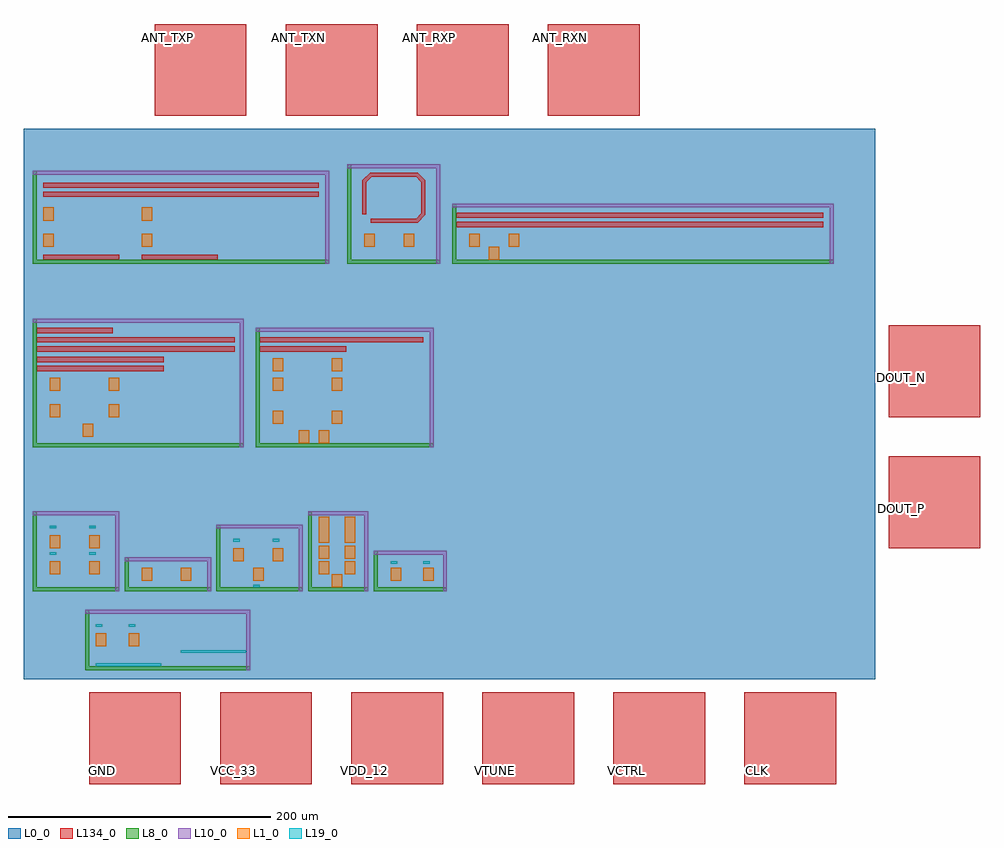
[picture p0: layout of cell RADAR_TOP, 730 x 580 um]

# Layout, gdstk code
import gdstk
lib = gdstk.Library(unit=1e-6, precision=1e-09)
def R(c, l, rs):  # rectangles x0, y0, x1, y1
    for r in rs: c.add(gdstk.rectangle(r[:2], r[2:], *l))
def A(c, l, x, y, w, h, nx, ny, dx, dy):  # array of equal rectangles
    R(c, l, [(x+i*dx, y+j*dy, x+i*dx+w, y+j*dy+h) for i in range(nx) for j in range(ny)])
L0_0 = (0, 0)
L1_0 = (1, 0)
L8_0 = (8, 0)
L10_0 = (10, 0)
L19_0 = (19, 0)
L134_0 = (134, 0)

bias_bgr = lib.new_cell('BIAS_BGR')
R(bias_bgr, L1_0, [(5,15,13,25), (30,15,38,25)])
R(bias_bgr, L8_0, [(-3,-3,123,0), (-3,-3,0,43)])
R(bias_bgr, L10_0, [(120,-3,123,43), (-3,40,123,43)])
R(bias_bgr, L19_0, [(5,0,55,2), (70,10,120,12), (5,30,10,32), (30,30,35,32)])
bias_bgr.add(gdstk.Label('npn13G2L', (5,20), layer=63, texttype=0))
bias_bgr.add(gdstk.Label('Q1_1x', (5,14), layer=63, texttype=0))
bias_bgr.add(gdstk.Label('npn13G2L', (30,20), layer=63, texttype=0))
bias_bgr.add(gdstk.Label('Q2_8x', (30,14), layer=63, texttype=0))
bias_bgr.add(gdstk.Label('R1_5k4=5400', (5,1), layer=63, texttype=0))
bias_bgr.add(gdstk.Label('Rfb=50', (5,31), layer=63, texttype=0))
bias_bgr.add(gdstk.Label('Rout=100', (30,31), layer=63, texttype=0))
bias_bgr.add(gdstk.Label('R2_18k=18000', (70,11), layer=63, texttype=0))

ifa_77g = lib.new_cell('IFA_77G')
R(ifa_77g, L1_0, [(10,10,18,20), (40,10,48,20), (10,30,18,40), (40,30,48,40)])
R(ifa_77g, L8_0, [(-3,-3,63,0), (-3,-3,0,58)])
R(ifa_77g, L10_0, [(60,-3,63,58), (-3,55,63,58)])
R(ifa_77g, L19_0, [(10,25,15,27), (40,25,45,27), (10,45,15,47), (40,45,45,47)])
ifa_77g.add(gdstk.Label('npn13G2L', (10,35), layer=63, texttype=0))
ifa_77g.add(gdstk.Label('Q1', (10,29), layer=63, texttype=0))
ifa_77g.add(gdstk.Label('npn13G2L', (40,35), layer=63, texttype=0))
ifa_77g.add(gdstk.Label('Q2', (40,29), layer=63, texttype=0))
ifa_77g.add(gdstk.Label('RL1=500', (10,46), layer=63, texttype=0))
ifa_77g.add(gdstk.Label('RL2=500', (40,46), layer=63, texttype=0))
ifa_77g.add(gdstk.Label('npn13G2L', (10,15), layer=63, texttype=0))
ifa_77g.add(gdstk.Label('Q3', (10,9), layer=63, texttype=0))
ifa_77g.add(gdstk.Label('npn13G2L', (40,15), layer=63, texttype=0))
ifa_77g.add(gdstk.Label('Q4', (40,9), layer=63, texttype=0))
ifa_77g.add(gdstk.Label('RL3=500', (10,26), layer=63, texttype=0))
ifa_77g.add(gdstk.Label('RL4=500', (40,26), layer=63, texttype=0))

lvlshift_77g = lib.new_cell('LVLSHIFT_77G')
R(lvlshift_77g, L1_0, [(10,5,18,15), (40,5,48,15)])
R(lvlshift_77g, L8_0, [(-3,-3,63,0), (-3,-3,0,23)])
R(lvlshift_77g, L10_0, [(60,-3,63,23), (-3,20,63,23)])
lvlshift_77g.add(gdstk.Label('npn13G2L', (10,10), layer=63, texttype=0))
lvlshift_77g.add(gdstk.Label('Q1', (10,4), layer=63, texttype=0))
lvlshift_77g.add(gdstk.Label('npn13G2L', (40,10), layer=63, texttype=0))
lvlshift_77g.add(gdstk.Label('Q2', (40,4), layer=63, texttype=0))

vga_77g = lib.new_cell('VGA_77G')
R(vga_77g, L1_0, [(25,5,33,15), (10,20,18,30), (40,20,48,30)])
R(vga_77g, L8_0, [(-3,-3,63,0), (-3,-3,0,48)])
R(vga_77g, L10_0, [(60,-3,63,48), (-3,45,63,48)])
R(vga_77g, L19_0, [(25,0,30,2), (10,35,15,37), (40,35,45,37)])
vga_77g.add(gdstk.Label('npn13G2L', (10,25), layer=63, texttype=0))
vga_77g.add(gdstk.Label('Q1', (10,19), layer=63, texttype=0))
vga_77g.add(gdstk.Label('npn13G2L', (40,25), layer=63, texttype=0))
vga_77g.add(gdstk.Label('Q2', (40,19), layer=63, texttype=0))
vga_77g.add(gdstk.Label('npn13G2L', (25,10), layer=63, texttype=0))
vga_77g.add(gdstk.Label('Qtail', (25,4), layer=63, texttype=0))
vga_77g.add(gdstk.Label('RL1=500', (10,36), layer=63, texttype=0))
vga_77g.add(gdstk.Label('RL2=500', (40,36), layer=63, texttype=0))
vga_77g.add(gdstk.Label('RE=10', (25,1), layer=63, texttype=0))

adc_sar_12b = lib.new_cell('ADC_SAR_12B')
A(adc_sar_12b, L1_0, 5, 10, 8, 10, 1, 3, 0, 12)
A(adc_sar_12b, L1_0, 25, 10, 8, 10, 1, 3, 0, 12)
R(adc_sar_12b, L1_0, [(15,0,23,10), (5,44,13,54), (25,44,33,54)])
R(adc_sar_12b, L8_0, [(-3,-3,43,0), (-3,-3,0,58)])
R(adc_sar_12b, L10_0, [(40,-3,43,58), (-3,55,43,58)])
adc_sar_12b.add(gdstk.Label('nmos', (5,15), layer=63, texttype=0))
adc_sar_12b.add(gdstk.Label('M1', (5,9), layer=63, texttype=0))
adc_sar_12b.add(gdstk.Label('nmos', (25,15), layer=63, texttype=0))
adc_sar_12b.add(gdstk.Label('M2', (25,9), layer=63, texttype=0))
adc_sar_12b.add(gdstk.Label('nmos', (15,5), layer=63, texttype=0))
adc_sar_12b.add(gdstk.Label('M9', (15,-1), layer=63, texttype=0))
adc_sar_12b.add(gdstk.Label('nmos', (5,27), layer=63, texttype=0))
adc_sar_12b.add(gdstk.Label('M5', (5,21), layer=63, texttype=0))
adc_sar_12b.add(gdstk.Label('nmos', (25,27), layer=63, texttype=0))
adc_sar_12b.add(gdstk.Label('M6', (25,21), layer=63, texttype=0))
adc_sar_12b.add(gdstk.Label('pmos', (5,39), layer=63, texttype=0))
adc_sar_12b.add(gdstk.Label('M3', (5,33), layer=63, texttype=0))
adc_sar_12b.add(gdstk.Label('pmos', (25,39), layer=63, texttype=0))
adc_sar_12b.add(gdstk.Label('M4', (25,33), layer=63, texttype=0))
adc_sar_12b.add(gdstk.Label('pmos', (5,49), layer=63, texttype=0))
adc_sar_12b.add(gdstk.Label('M7', (5,43), layer=63, texttype=0))
adc_sar_12b.add(gdstk.Label('pmos', (25,49), layer=63, texttype=0))
adc_sar_12b.add(gdstk.Label('M8', (25,43), layer=63, texttype=0))

digif_cml = lib.new_cell('DIGIF_CML')
R(digif_cml, L1_0, [(10,5,18,15), (35,5,43,15)])
R(digif_cml, L8_0, [(-3,-3,53,0), (-3,-3,0,28)])
R(digif_cml, L10_0, [(50,-3,53,28), (-3,25,53,28)])
R(digif_cml, L19_0, [(10,18,15,20), (35,18,40,20)])
digif_cml.add(gdstk.Label('npn13G2L', (10,10), layer=63, texttype=0))
digif_cml.add(gdstk.Label('Q1', (10,4), layer=63, texttype=0))
digif_cml.add(gdstk.Label('npn13G2L', (35,10), layer=63, texttype=0))
digif_cml.add(gdstk.Label('Q2', (35,4), layer=63, texttype=0))
digif_cml.add(gdstk.Label('RT1=50', (10,19), layer=63, texttype=0))
digif_cml.add(gdstk.Label('RT2=50', (35,19), layer=63, texttype=0))

lna_77g = lib.new_cell('LNA_77G')
R(lna_77g, L1_0, [(35,5,43,15), (10,20,18,30), (55,20,63,30), (10,40,18,50), (55,40,63,50)])
R(lna_77g, L8_0, [(-3,-3,158,0), (-3,-3,0,95)])
R(lna_77g, L10_0, [(155,-3,158,95), (-3,92,158,95)])
R(lna_77g, L134_0, [(0,55,97,59), (0,62,97,66), (0,70,151,74), (0,77,151,81), (0,84,58,88)])
lna_77g.add(gdstk.Label('npn13G2L', (10,25), layer=63, texttype=0))
lna_77g.add(gdstk.Label('Q33', (10,19), layer=63, texttype=0))
lna_77g.add(gdstk.Label('npn13G2L', (55,25), layer=63, texttype=0))
lna_77g.add(gdstk.Label('Q34', (55,19), layer=63, texttype=0))
lna_77g.add(gdstk.Label('npn13G2L', (10,45), layer=63, texttype=0))
lna_77g.add(gdstk.Label('Q35', (10,39), layer=63, texttype=0))
lna_77g.add(gdstk.Label('npn13G2L', (55,45), layer=63, texttype=0))
lna_77g.add(gdstk.Label('Q36', (55,39), layer=63, texttype=0))
lna_77g.add(gdstk.Label('npn13G2L', (35,10), layer=63, texttype=0))
lna_77g.add(gdstk.Label('Q37_bias', (35,4), layer=63, texttype=0))
lna_77g.add(gdstk.Label('TL_in_P', (0,60), layer=63, texttype=0))
lna_77g.add(gdstk.Label('TL_in_N', (0,67), layer=63, texttype=0))
lna_77g.add(gdstk.Label('TL_out_P', (0,75), layer=63, texttype=0))
lna_77g.add(gdstk.Label('TL_out_N', (0,82), layer=63, texttype=0))
lna_77g.add(gdstk.Label('TL_bias', (0,89), layer=63, texttype=0))

mixer_77g = lib.new_cell('MIXER_77G')
R(mixer_77g, L1_0, [(30,0,38,10), (45,0,53,10), (10,15,18,25), (55,15,63,25), (10,40,18,50), (55,40,63,50), (10,55,18,65), (55,55,63,65)])
R(mixer_77g, L8_0, [(-3,-3,133,0), (-3,-3,0,88)])
R(mixer_77g, L10_0, [(130,-3,133,88), (-3,85,133,88)])
R(mixer_77g, L134_0, [(0,70,66,74), (0,77,125,81)])
mixer_77g.add(gdstk.Label('npn13G2L', (10,45), layer=63, texttype=0))
mixer_77g.add(gdstk.Label('Q22', (10,39), layer=63, texttype=0))
mixer_77g.add(gdstk.Label('npn13G2L', (55,45), layer=63, texttype=0))
mixer_77g.add(gdstk.Label('Q23', (55,39), layer=63, texttype=0))
mixer_77g.add(gdstk.Label('npn13G2L', (10,60), layer=63, texttype=0))
mixer_77g.add(gdstk.Label('Q24', (10,54), layer=63, texttype=0))
mixer_77g.add(gdstk.Label('npn13G2L', (55,60), layer=63, texttype=0))
mixer_77g.add(gdstk.Label('Q25', (55,54), layer=63, texttype=0))
mixer_77g.add(gdstk.Label('npn13G2L', (10,20), layer=63, texttype=0))
mixer_77g.add(gdstk.Label('Q20', (10,14), layer=63, texttype=0))
mixer_77g.add(gdstk.Label('npn13G2L', (55,20), layer=63, texttype=0))
mixer_77g.add(gdstk.Label('Q21', (55,14), layer=63, texttype=0))
mixer_77g.add(gdstk.Label('npn13G2L', (30,5), layer=63, texttype=0))
mixer_77g.add(gdstk.Label('Q26', (30,-1), layer=63, texttype=0))
mixer_77g.add(gdstk.Label('npn13G2L', (45,5), layer=63, texttype=0))
mixer_77g.add(gdstk.Label('Q27', (45,-1), layer=63, texttype=0))
mixer_77g.add(gdstk.Label('TL_LO', (0,75), layer=63, texttype=0))
mixer_77g.add(gdstk.Label('TL_RF', (0,82), layer=63, texttype=0))

txpa_77g = lib.new_cell('TXPA_77G')
R(txpa_77g, L1_0, [(5,10,13,20), (80,10,88,20), (5,30,13,40), (80,30,88,40)])
R(txpa_77g, L8_0, [(-3,-3,223,0), (-3,-3,0,68)])
R(txpa_77g, L10_0, [(220,-3,223,68), (-3,65,223,68)])
R(txpa_77g, L134_0, [(5,0,63,4), (80,0,138,4), (5,48,215,52), (5,55,215,59)])
txpa_77g.add(gdstk.Label('npn13G2L', (5,15), layer=63, texttype=0))
txpa_77g.add(gdstk.Label('Q1_CE', (5,9), layer=63, texttype=0))
txpa_77g.add(gdstk.Label('npn13G2L', (5,35), layer=63, texttype=0))
txpa_77g.add(gdstk.Label('Q3_CB', (5,29), layer=63, texttype=0))
txpa_77g.add(gdstk.Label('npn13G2L', (80,15), layer=63, texttype=0))
txpa_77g.add(gdstk.Label('Q2_CE', (80,9), layer=63, texttype=0))
txpa_77g.add(gdstk.Label('npn13G2L', (80,35), layer=63, texttype=0))
txpa_77g.add(gdstk.Label('Q4_CB', (80,29), layer=63, texttype=0))
txpa_77g.add(gdstk.Label('TL_out_P', (5,53), layer=63, texttype=0))
txpa_77g.add(gdstk.Label('TL_out_N', (5,60), layer=63, texttype=0))
txpa_77g.add(gdstk.Label('TL_deg_P', (5,5), layer=63, texttype=0))
txpa_77g.add(gdstk.Label('TL_deg_N', (80,5), layer=63, texttype=0))

vco_77g = lib.new_cell('VCO_77G')
R(vco_77g, L1_0, [(10,10,18,20), (40,10,48,20)])
R(vco_77g, L8_0, [(-3,-3,68,0), (-3,-3,0,73)])
R(vco_77g, L10_0, [(65,-3,68,73), (-3,70,68,73)])
vco_77g.add(gdstk.FlexPath([(15,30),(50,30),(55,35),(55,60),(50,65),(15,65),(10,60),(10,35)], 3, ends="flush", simple_path=True, layer=134, datatype=0))  # L134_0
vco_77g.add(gdstk.Label('npn13G2L', (10,15), layer=63, texttype=0))
vco_77g.add(gdstk.Label('Q1', (10,9), layer=63, texttype=0))
vco_77g.add(gdstk.Label('npn13G2L', (40,15), layer=63, texttype=0))
vco_77g.add(gdstk.Label('Q2', (40,9), layer=63, texttype=0))
vco_77g.add(gdstk.Label('L_27pH', (25,45), layer=63, texttype=0))

ilfd_77g = lib.new_cell('ILFD_77G')
R(ilfd_77g, L1_0, [(25,0,33,10), (10,10,18,20), (40,10,48,20)])
R(ilfd_77g, L8_0, [(-3,-3,288,0), (-3,-3,0,43)])
R(ilfd_77g, L10_0, [(285,-3,288,43), (-3,40,288,43)])
R(ilfd_77g, L134_0, [(0,25,280,29), (0,32,280,36)])
ilfd_77g.add(gdstk.Label('npn13G2L', (10,15), layer=63, texttype=0))
ilfd_77g.add(gdstk.Label('Q1_XC', (10,9), layer=63, texttype=0))
ilfd_77g.add(gdstk.Label('npn13G2L', (40,15), layer=63, texttype=0))
ilfd_77g.add(gdstk.Label('Q2_XC', (40,9), layer=63, texttype=0))
ilfd_77g.add(gdstk.Label('npn13G2L', (25,5), layer=63, texttype=0))
ilfd_77g.add(gdstk.Label('Q_INJ', (25,-1), layer=63, texttype=0))
ilfd_77g.add(gdstk.Label('TL_stub_P', (0,30), layer=63, texttype=0))
ilfd_77g.add(gdstk.Label('TL_stub_N', (0,37), layer=63, texttype=0))

radar_top = lib.new_cell('RADAR_TOP')
R(radar_top, L0_0, [(0,0,650,420)])
A(radar_top, L134_0, 50, -80, 70, 70, 6, 1, 100, 0)
A(radar_top, L134_0, 100, 430, 70, 70, 4, 1, 100, 0)
R(radar_top, L134_0, [(660,100,730,170), (660,200,730,270)])
radar_top.add(gdstk.Reference(bias_bgr, (50,10)))
radar_top.add(gdstk.Reference(ifa_77g, (10,70)))
radar_top.add(gdstk.Reference(lvlshift_77g, (80,70)))
radar_top.add(gdstk.Reference(vga_77g, (150,70)))
radar_top.add(gdstk.Reference(adc_sar_12b, (220,70)))
radar_top.add(gdstk.Reference(digif_cml, (270,70)))
radar_top.add(gdstk.Reference(lna_77g, (10,180)))
radar_top.add(gdstk.Reference(mixer_77g, (180,180)))
radar_top.add(gdstk.Reference(txpa_77g, (10,320)))
radar_top.add(gdstk.Reference(vco_77g, (250,320)))
radar_top.add(gdstk.Reference(ilfd_77g, (330,320)))
radar_top.add(gdstk.Label('GND', (60,-70), layer=63, texttype=0))
radar_top.add(gdstk.Label('VCC_33', (160,-70), layer=63, texttype=0))
radar_top.add(gdstk.Label('VDD_12', (260,-70), layer=63, texttype=0))
radar_top.add(gdstk.Label('VTUNE', (360,-70), layer=63, texttype=0))
radar_top.add(gdstk.Label('VCTRL', (460,-70), layer=63, texttype=0))
radar_top.add(gdstk.Label('CLK', (560,-70), layer=63, texttype=0))
radar_top.add(gdstk.Label('ANT_TXP', (110,490), layer=63, texttype=0))
radar_top.add(gdstk.Label('ANT_TXN', (210,490), layer=63, texttype=0))
radar_top.add(gdstk.Label('ANT_RXP', (310,490), layer=63, texttype=0))
radar_top.add(gdstk.Label('ANT_RXN', (410,490), layer=63, texttype=0))
radar_top.add(gdstk.Label('DOUT_P', (670,130), layer=63, texttype=0))
radar_top.add(gdstk.Label('DOUT_N', (670,230), layer=63, texttype=0))

lib.write_gds('RADAR_TOP.gds')
